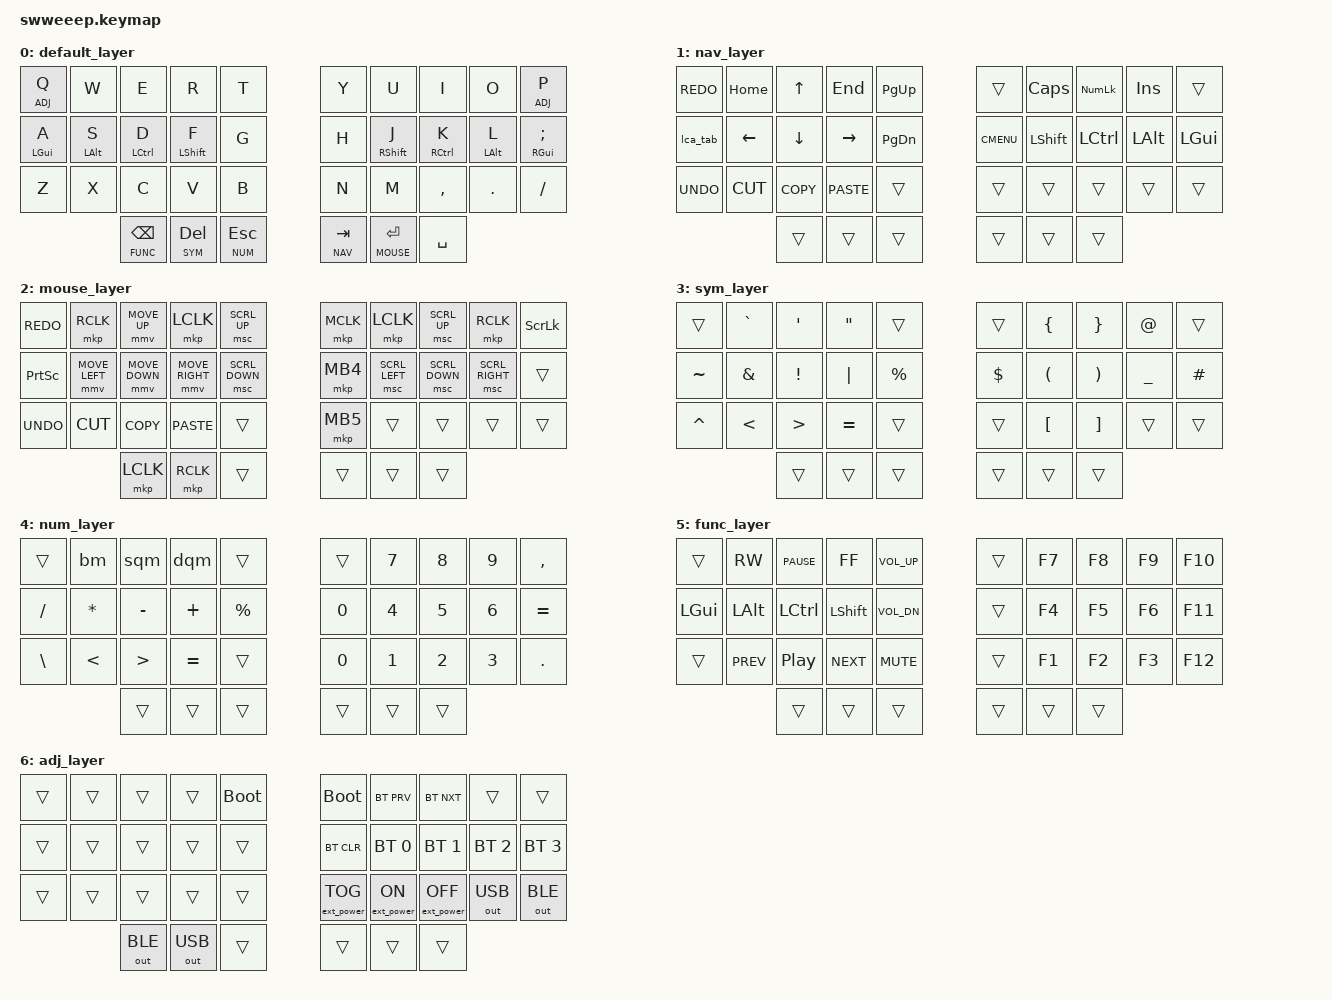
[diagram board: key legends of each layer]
#include <behaviors.dtsi>
#include <dt-bindings/zmk/keys.h>
#include <dt-bindings/zmk/bt.h>
#include <dt-bindings/zmk/ext_power.h>
#include <dt-bindings/zmk/outputs.h>

#define ZMK_POINTING_DEFAULT_MOVE_VAL 1500  // default: 600
#define ZMK_POINTING_DEFAULT_SCRL_VAL 20    // default: 10

#include <dt-bindings/zmk/pointing.h>

#define DEFAULT 0
#define NAV     1
#define MOUSE   2
#define SYM     3
#define NUM     4
#define FUNC    5
#define ADJ     6

&caps_word {
    continue-list = <UNDERSCORE MINUS>;
};

/ {
    combos {
        compatible = "zmk,combos";
        combo_capsword {
            timeout-ms = <50>;
            key-positions = <13 16>;
            bindings = <&caps_word>;
            layers = <DEFAULT NAV MOUSE SYM FUNC NUM>;
        };
    };


    behaviors {
        lt: layer_tap {
            compatible = "zmk,behavior-hold-tap";
            #binding-cells = <2>;
            flavor = "tap-preferred";
            tapping-term-ms = <200>;
            quick-tap-ms = <175>;
            #global-quick-tap;
            bindings = <&mo>, <&kp>;
            display-name = "Layer-Tap";
        };
        hm: homerow_mods {
            compatible = "zmk,behavior-hold-tap";
            #binding-cells = <2>;
            flavor = "tap-preferred";
            tapping-term-ms = <200>;
            quick-tap-ms = <175>;

            bindings = <&kp>, <&kp>;
            display-name = "Homerow-Mods";
        };
        hs: homerow_shift {
            compatible = "zmk,behavior-hold-tap";
            #binding-cells = <2>;
            flavor = "tap-preferred";
            tapping-term-ms = <175>;
            quick-tap-ms = <150>;
            bindings = <&kp>, <&kp>;
            display-name = "Homerow-Shift";
        };
	    just_left: left_no_mods {
	          compatible = "zmk,behavior-mod-morph";
	          label = "JUST_LEFT";
	          #binding-cells = <0>;
	          bindings = <&kp LEFT>, <&kp LEFT>;
	          mods = <(MOD_LSFT|MOD_RSFT|MOD_LCTL|MOD_RCTL|MOD_LALT|MOD_RALT|MOD_LGUI|MOD_RGUI)>;
	          keep-mods = <0>;
	    };
    };

    macro {
        pair: pair {
	        label = "PAIR";
	        compatible = "zmk,behavior-macro-two-param";
            #binding-cells = <2>; // Must be 2
	        bindings = <&macro_param_1to1>, <&kp MACRO_PLACEHOLDER>, <&macro_param_2to1>, <&kp MACRO_PLACEHOLDER> ;
	    };

        sqm: macro_sqm {
            label = "SQM";
            compatible = "zmk,behavior-macro";
            #binding-cells = <0>;
            bindings = <&pair SQT SPACE>; // Single Quote (')
        };

        dqm: macro_dqm {
            label = "DQM";
            compatible = "zmk,behavior-macro";
            #binding-cells = <0>;
            bindings = <&pair DQT SPACE>; // Double Quote (")
        };

        bm: macro_bm {
            label = "BM";
            compatible = "zmk,behavior-macro";
            #binding-cells = <0>;
            bindings = <&pair GRAVE SPACE>; // Backtick (`)
        };

        lca_tab: lca_tab {
            compatible = "zmk,behavior-macro";
            #binding-cells = <0>;
            bindings
                = <&macro_press &kp LCTRL>
                , <&macro_press &kp LALT>
                , <&macro_tap &kp TAB>
                , <&macro_release &kp LALT>
                , <&macro_release &kp LCTRL>
                ;
        };
    };

    keymap {
        compatible = "zmk,keymap";

        default_layer {
            bindings = <
    &lt ADJ Q   &kp W       &kp E         &kp R       &kp T                                  &kp Y         &kp U         &kp I       &kp O       &lt ADJ P
    &hm LGUI A  &hm LALT S  &hm LCTL D  &hs LSHIFT F  &kp G                                  &kp H         &hs RSHIFT J  &hm RCTL K  &hm LALT L  &hm RGUI SEMI
    &kp Z       &kp X       &kp C       &kp V         &kp B                                  &kp N         &kp M         &kp COMMA   &kp DOT     &kp FSLH
// Riccardo //                          &lt FUNC ESC   &kp SPACE    &lt NAV TAB  &lt NUM ENTER  &lt  SYM BSPC  &lt MOUSE DEL
                                         &lt FUNC BSPC  &lt SYM DEL  &lt NUM ESC  &lt NAV TAB    &lt MOUSE ENTER &kp  SPACE
            >;
        };

        nav_layer {
            bindings = <
    &kp K_REDO &kp HOME  &kp UP     &kp END     &kp PG_UP               &trans     &kp CAPS   &kp KP_NUM &kp INS  &trans
    &lca_tab   &kp LEFT  &kp DOWN   &kp RIGHT   &kp PG_DN               &kp K_CMENU &kp LSHIFT &kp LCTL   &kp LALT &kp LGUI
    &kp K_UNDO &kp K_CUT &kp K_COPY &kp K_PASTE &trans                  &trans     &trans     &trans     &trans   &trans
                                    &trans      &trans    &trans &trans &trans     &trans
            >;
        };

        mouse_layer {
            bindings = <
    &kp K_REDO &mkp RCLK      &mmv MOVE_UP   &mkp LCLK       &msc SCRL_UP                    &mkp MCLK &mkp LCLK      &msc SCRL_UP   &mkp RCLK       &kp SLCK
    &kp PSCRN  &mmv MOVE_LEFT &mmv MOVE_DOWN &mmv MOVE_RIGHT &msc SCRL_DOWN                  &mkp MB4  &msc SCRL_LEFT &msc SCRL_DOWN &msc SCRL_RIGHT &trans
    &kp K_UNDO &kp K_CUT      &kp K_COPY     &kp K_PASTE     &trans                          &mkp MB5  &trans         &trans         &trans          &trans
                                    &mkp LCLK      &mkp RCLK        &trans      &trans &trans    &trans
            >;
        };

        sym_layer {
            bindings = <
    &trans    &kp GRAVE &kp SQT  &kp DQT   &trans                  &trans   &kp LBRC &kp RBRC &kp AT    &trans
    &kp TILDE &kp AMPS  &kp EXCL &kp PIPE  &kp PRCNT               &kp DLLR &kp LPAR &kp RPAR &kp UNDER &kp HASH
    &kp CARET &kp LT    &kp GT   &kp EQUAL &trans                  &trans   &kp LBKT &kp RBKT &trans    &trans
                                 &trans    &trans    &trans &trans &trans   &trans
            >;
        };

        num_layer {
            bindings = <
    &trans   &bm       &sqm      &dqm      &trans                  &trans &kp N7 &kp N8 &kp N9 &kp COMMA
    &kp FSLH &kp ASTRK &kp MINUS &kp PLUS  &kp PRCNT               &kp N0 &kp N4 &kp N5 &kp N6 &kp EQUAL
    &kp BSLH &kp LT    &kp GT    &kp EQUAL &trans                  &kp N0 &kp N1 &kp N2 &kp N3 &kp DOT
                                 &trans    &trans    &trans &trans &trans &trans
            >;
        };

        func_layer {
            bindings = <
    &trans   &kp C_RW   &kp C_PAUSE      &kp C_FF   &kp C_VOL_UP               &trans &kp F7 &kp F8 &kp F9 &kp F10
    &kp LGUI &kp LALT   &kp LCTL         &kp LSHIFT &kp C_VOL_DN               &trans &kp F4 &kp F5 &kp F6 &kp F11
    &trans   &kp C_PREV &kp C_PLAY_PAUSE &kp C_NEXT &kp C_MUTE                 &trans &kp F1 &kp F2 &kp F3 &kp F12
                                         &trans     &trans       &trans &trans &trans &trans
            >;
        };



        adj_layer {
            bindings = <
    &trans &trans &trans &trans       &bootloader                &bootloader       &bt BT_PRV       &bt BT_NXT        &trans       &trans
    &trans &trans &trans &trans       &trans                     &bt BT_CLR        &bt BT_SEL 0     &bt BT_SEL 1      &bt BT_SEL 2 &bt BT_SEL 3
    &trans &trans &trans &trans       &trans                     &ext_power EP_TOG &ext_power EP_ON &ext_power EP_OFF &out OUT_USB &out OUT_BLE
                         &out OUT_BLE &out OUT_USB &trans &trans &trans            &trans
            >;
        };

    };
};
